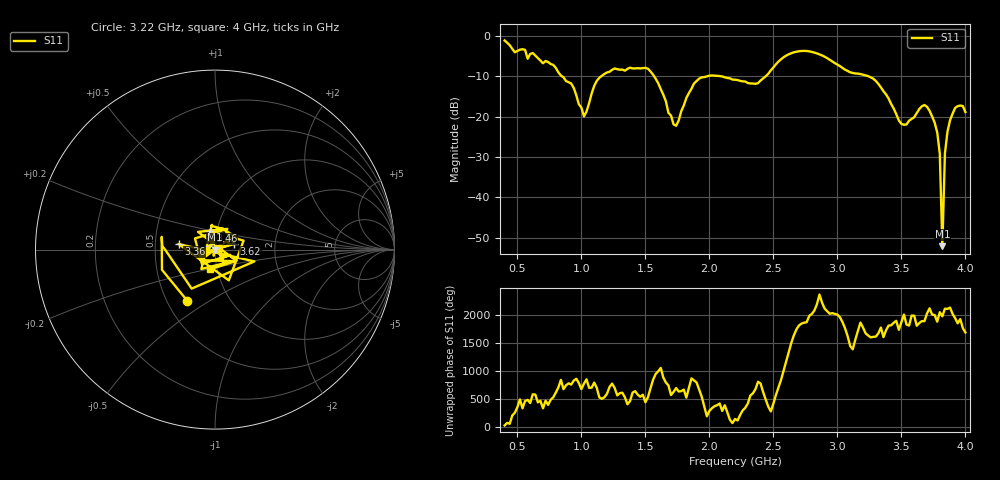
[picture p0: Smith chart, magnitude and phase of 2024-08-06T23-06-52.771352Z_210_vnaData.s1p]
!Created with skrf (http://scikit-rf.org).
# Hz S RI R 50.0
!freq ReS11 ImS11
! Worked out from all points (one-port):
!   181 points, 400 MHz to 4 GHz, reference 50 ohm
!   lowest |S11| = -52.0 dB at 3.82 GHz (marker M1), VSWR 1.01, Z = 49.8 - j0.0171 ohm
!   |S11| at or under -10 dB: 1.567 GHz to 1.987 GHz (420.4 MHz wide, 23.7 % of centre); 2.082 GHz to 2.442 GHz (359.6 MHz wide, 15.9 % of centre); 3.24 GHz to end of sweep (the widest 3 of 4)
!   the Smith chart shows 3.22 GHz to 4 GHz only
!   S11 on the Smith chart (normalised r, x): 3.22 GHz: 0.63, -0.40; 3.36 GHz: 0.66, +0.04; 3.46 GHz: 0.93, +0.20; 3.62 GHz: 1.23, +0.08; 4 GHz: 0.92, -0.21
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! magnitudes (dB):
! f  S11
! 400 MHz  -1.2
! 860 MHz  -10.3
! 940 MHz  -12.9
! 1.02 GHz  -20.0
! 1.12 GHz  -11.2
! 1.3 GHz  -8.4
! 1.52 GHz  -8.2
! 1.6 GHz  -11.8
! 1.72 GHz  -21.9
! 1.76 GHz  -21.0
! 1.92 GHz  -10.6
! 2.2 GHz  -10.9
! 2.38 GHz  -11.7
! 2.66 GHz  -4.1
! 3.1 GHz  -9.1
! 3.22 GHz  -9.8
! 3.36 GHz  -13.7
! 3.46 GHz  -19.4
! 3.56 GHz  -21.0
! 3.62 GHz  -19.1
! 3.7 GHz  -17.6
! 3.78 GHz  -23.9
! 3.8 GHz  -29.2
! 3.82 GHz  -52.0
! 3.84 GHz  -29.1
! 3.86 GHz  -23.7
! 3.92 GHz  -17.9
! 4 GHz  -18.9
